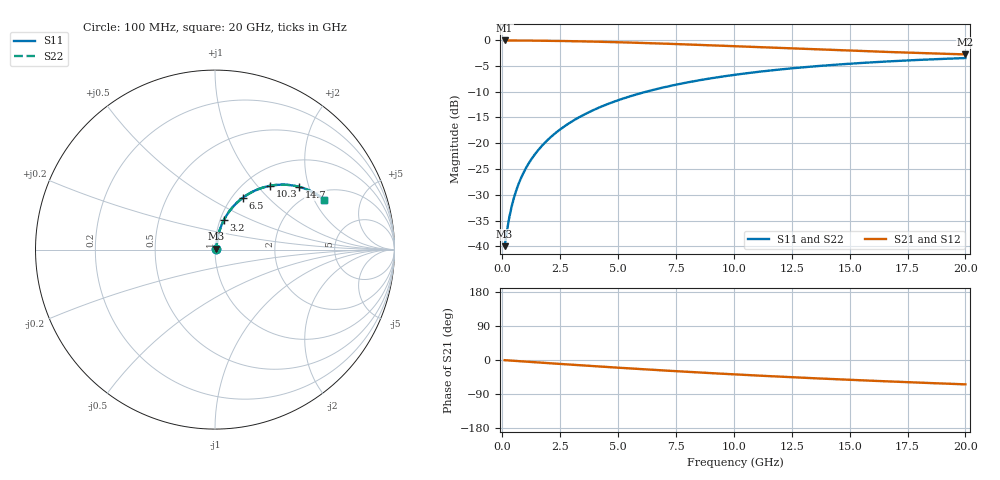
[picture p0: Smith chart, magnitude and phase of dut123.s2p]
! Touchstone file exported from HFSS 2026.1.0
!  File:  C:/ffzhzh/LocalFiles/Ansys_Project_Files/temp_train_TMRDL_123_1782982654_41620.aedt
!  Generated:  04:59:03 PM Jul  2, 2026
!  Design:  TMRDL
!  Project:  temp_train_TMRDL_123_1782982654_41620
! Variables:
!  h_bsmrdl = 2um
!  h_ox = 20um
!  h_rdl = 5um
!  h_sub = 80um
!  h_tmrdl = 3.63um
!  h_tsv = 80um
!  h_via = 3um
!  l_bsmrdl = 300um
!  l_sub = 1337.55um
!  l_tmrdl = 937.55um
!  m_sub = 200um
!  pitch = 54.06um
!  r_tsv = 6um
!  s_tmrdl = 10um
!  w_bsmrdl = 18um
!  w_sub = 500um
!  w_tmrdl = 10.93um
!  x_tsv_center1 = 943.015um
!  x_tsv_center2 = 1261.015um
!  x_tsv_center3 = 2209.495um
!  x_tsv_center4 = 2527.495um
!  x_tsv_center5 = 3475.975um
!  x_tsv_center6 = 3793.975um
# GHz S MA R 50.000000
! Terminal data exported
! Port[1] = TM_RDL1_1_T1
! Port[2] = TM_RDL1_1_T2
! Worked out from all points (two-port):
!   200 points, 100 MHz to 20 GHz, reference 50 ohm
!   highest |S21| = -0.07 dB at 100 MHz (marker M1); lowest = -2.8 dB at 20 GHz (marker M2)
!   |S21| within 3 dB of the highest: start of sweep to end of sweep
!   lowest |S11| = -40.0 dB at 100 MHz (marker M3), VSWR 1.02, Z = 50.8 + j0.571 ohm
!   |S11| at or under -10 dB: start of sweep to 6.225 GHz
!   |S22| runs from -40.0 to -3.5 dB; largest |S21 - S12| = 2.9e-15
!   S11 on the Smith chart (normalised r, x): 100 MHz: 1.02, +0.01; 3.2 GHz: 1.04, +0.35; 6.5 GHz: 1.12, +0.73; 10.3 GHz: 1.28, +1.17; 14.7 GHz: 1.62, +1.72; 20 GHz: 2.41, +2.42
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0.1  0.01003 34.1  0.9917 -0.4  0.9917 -0.4  0.01003 34.1
! Gamma 0 0 0 0
! Port Impedance 50 0 50 0
0.2  0.01407 52.8  0.9916 -0.9  0.9916 -0.9  0.01407 52.8
0.3  0.01894 62.2  0.9914 -1.3  0.9914 -1.3  0.01894 62.2
0.4  0.0241 67.4  0.9912 -1.7  0.9912 -1.7  0.0241 67.4
0.5  0.02938 70.6  0.9909 -2.1  0.9909 -2.1  0.02938 70.6
0.7  0.04005 74.1  0.9903 -3.0  0.9903 -3.0  0.04005 74.1
1  0.05615 76.3  0.9893 -4.2  0.9893 -4.2  0.05615 76.3
1.4  0.07763 77.1  0.9875 -5.9  0.9875 -5.9  0.07763 77.1
1.9  0.1044 76.7  0.9848 -7.9  0.9848 -7.9  0.1044 76.7
2.5  0.1361 75.3  0.9806 -10.4  0.9806 -10.4  0.1361 75.3
3.2  0.1724 73.2  0.9744 -13.2  0.9744 -13.2  0.1724 73.2
3.5  0.1877 72.2  0.9714 -14.4  0.9714 -14.4  0.1877 72.3
4.9  0.2562 67.4  0.9547 -19.9  0.9547 -19.9  0.2562 67.4
6.5  0.3281 61.8  0.9314 -25.9  0.9314 -25.9  0.3281 61.8
6.8  0.3407 60.7  0.9266 -27.0  0.9266 -27.0  0.3407 60.7
8.3  0.4 55.6  0.9019 -32.3  0.9019 -32.3  0.4 55.6
10.1  0.4625 49.9  0.871 -38.2  0.871 -38.2  0.4625 49.9
10.3  0.4689 49.3  0.8675 -38.8  0.8675 -38.8  0.4689 49.3
13.4  0.5544 40.3  0.8156 -48.0  0.8156 -48.0  0.5544 40.3
14.7  0.5835 36.9  0.7953 -51.5  0.7953 -51.5  0.5836 36.9
16.7  0.6216 31.9  0.7665 -56.6  0.7665 -56.6  0.6216 31.9
20  0.6695 24.4  0.7264 -64.3  0.7264 -64.3  0.6695 24.4
